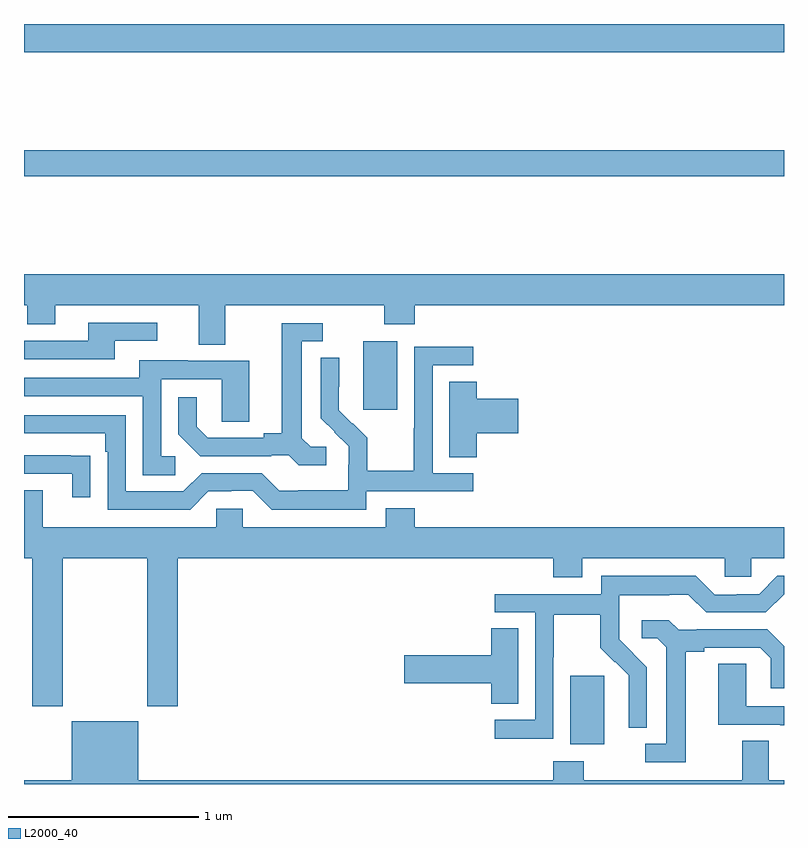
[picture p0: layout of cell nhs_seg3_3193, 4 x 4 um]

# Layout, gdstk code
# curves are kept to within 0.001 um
import gdstk
lib = gdstk.Library(unit=1e-6, precision=1e-09)
def R(c, l, rs):  # rectangles x0, y0, x1, y1
    for r in rs: c.add(gdstk.rectangle(r[:2], r[2:], *l))
def P(c, l, *ps):  # polygons
    for p in ps: c.add(gdstk.Polygon(p, *l))
L2000_40 = (2000, 40)

nhs_seg3_3193 = lib.new_cell('nhs_seg3_3193')
R(nhs_seg3_3193, L2000_40, [(279.875,694.61,280.054,694.971), (278.786,696.369,278.965,696.73), (277,697.6,281,697.736), (277,698.252,281,698.4)])
P(nhs_seg3_3193, L2000_40, [(278.059,696.92),(278.896,696.92),(278.896,696.821),(279.056,696.821),(279.056,696.92),(281,696.92),(281,697.084),(277,697.084),(277,696.92),(277.018,696.92),(277.018,696.821),(277.165,696.821),(277.165,696.92),(277.919,696.92),(277.919,696.712),(278.059,696.712)],
  [(277.477,696.732),(277.702,696.732),(277.702,696.828),(277.337,696.828),(277.337,696.732),(277,696.732),(277,696.636),(277.477,696.636)],
  [(278.59,696.174),(278.508,696.174),(278.461,696.221),(278.461,696.729),(278.572,696.729),(278.572,696.825),(278.357,696.825),(278.357,696.245),(278.261,696.245),(278.261,696.222),(277.966,696.222),(277.909,696.279),(277.909,696.436),(277.812,696.436),(277.812,696.242),(277.928,696.126),(278.3,696.126),(278.3,696.129),(278.394,696.129),(278.446,696.077),(278.59,696.077)],
  [(278.802,695.94),(279.364,695.94),(279.364,696.036),(279.15,696.036),(279.15,696.603),(279.364,696.603),(279.364,696.702),(279.054,696.702),(279.054,696.272),(279.052,696.272),(279.052,696.049),(278.807,696.049),(278.807,696.223),(278.73,696.3),(278.727,696.297),(278.657,696.368),(278.658,696.644),(278.562,696.644),(278.562,696.326),(278.708,696.178),(278.708,696.081),(278.706,696.081),(278.706,695.947),(278.443,695.947),(278.443,695.943),(278.343,695.943),(278.25,696.036),(277.935,696.036),(277.839,695.94),(277.536,695.94),(277.536,696.342),(277,696.342),(277,696.246),(277.427,696.246),(277.427,696.149),(277.44,696.149),(277.44,695.844),(277.875,695.844),(277.971,695.94),(278.09,695.94),(278.09,695.943),(278.205,695.943),(278.305,695.843),(278.802,695.843)],
  [(277.795,696.126),(277.722,696.126),(277.722,696.531),(278.04,696.531),(278.04,696.307),(278.185,696.307),(278.185,696.627),(277.861,696.627),(277.861,696.631),(277.607,696.631),(277.607,696.537),(277,696.537),(277,696.441),(277.626,696.441),(277.626,696.025),(277.795,696.025)],
  [(279.383,696.245),(279.601,696.245),(279.601,696.428),(279.383,696.428),(279.383,696.518),(279.239,696.518),(279.239,696.121),(279.383,696.121)],
  [(277.349,696.128),(277.247,696.128),(277.247,696.129),(277,696.129),(277,696.033),(277.253,696.033),(277.253,695.91),(277.349,695.91)],
  [(277.203,695.588),(277.648,695.588),(277.648,694.809),(277.808,694.809),(277.808,695.588),(279.785,695.588),(279.785,695.489),(279.937,695.489),(279.937,695.588),(280.689,695.588),(280.689,695.49),(280.827,695.49),(280.827,695.588),(281,695.588),(281,695.752),(279.056,695.752),(279.056,695.851),(278.903,695.851),(278.903,695.752),(278.151,695.752),(278.151,695.85),(278.013,695.85),(278.013,695.752),(277.099,695.752),(277.099,695.947),(277,695.947),(277,695.588),(277.043,695.588),(277.043,694.809),(277.203,694.809)],
  [(279.786,695.068),(279.789,695.068),(279.789,695.292),(280.033,695.292),(280.033,695.117),(280.11,695.04),(280.113,695.043),(280.184,694.973),(280.184,694.85),(280.182,694.85),(280.182,694.696),(280.278,694.696),(280.278,695.014),(280.132,695.162),(280.132,695.259),(280.134,695.259),(280.134,695.393),(280.397,695.393),(280.397,695.397),(280.497,695.397),(280.59,695.304),(280.905,695.304),(281,695.399),(281,695.496),(280.965,695.496),(280.869,695.4),(280.751,695.4),(280.751,695.397),(280.635,695.397),(280.535,695.497),(280.038,695.497),(280.038,695.4),(279.477,695.4),(279.477,695.304),(279.69,695.304),(279.69,694.737),(279.477,694.737),(279.477,694.639),(279.786,694.639)],
  [(280.483,695.096),(280.579,695.096),(280.579,695.118),(280.874,695.118),(280.931,695.061),(280.931,694.905),(281,694.905),(281,695.126),(280.912,695.214),(280.54,695.214),(280.54,695.211),(280.446,695.211),(280.394,695.263),(280.251,695.263),(280.251,695.166),(280.332,695.166),(280.379,695.119),(280.379,694.611),(280.269,694.611),(280.269,694.515),(280.483,694.515)],
  [(279.601,695.219),(279.458,695.219),(279.458,695.078),(279,695.078),(279,694.931),(279.458,694.931),(279.458,694.822),(279.601,694.822)],
  [(281,694.809),(280.8,694.809),(280.8,695.033),(280.655,695.033),(280.655,694.713),(280.979,694.713),(280.979,694.709),(281,694.709)],
  [(281,694.42),(280.921,694.42),(280.921,694.628),(280.781,694.628),(280.781,694.42),(279.945,694.42),(279.945,694.519),(279.785,694.519),(279.785,694.42),(277.6,694.42),(277.6,694.729),(277.25,694.729),(277.25,694.42),(277,694.42),(277,694.4),(281,694.4)])

lib.write_gds('nhs_seg3_3193.gds')
